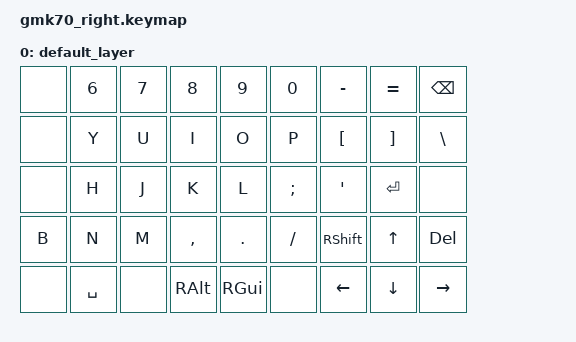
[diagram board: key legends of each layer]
/* SPDX-License-Identifier: MIT */
#include <behaviors.dtsi>
#include <dt-bindings/zmk/keys.h>
/ {
    keymap {
        compatible = "zmk,keymap";
        default_layer {
            bindings = <
                &none &kp N6 &kp N7 &kp N8 &kp N9 &kp N0 &kp MINUS &kp EQUAL &kp BSPC
                &none &kp Y &kp U &kp I &kp O &kp P &kp LBKT &kp RBKT &kp BSLH
                &none &kp H &kp J &kp K &kp L &kp SEMI &kp SQT &kp ENTER &none
                &kp B &kp N &kp M &kp COMMA &kp DOT &kp SLASH &kp RSHIFT &kp UP &kp DELETE
                &none &kp SPACE &none &kp RALT &kp RGUI &none &kp LEFT &kp DOWN &kp RIGHT
            >;
        };
    };
};
